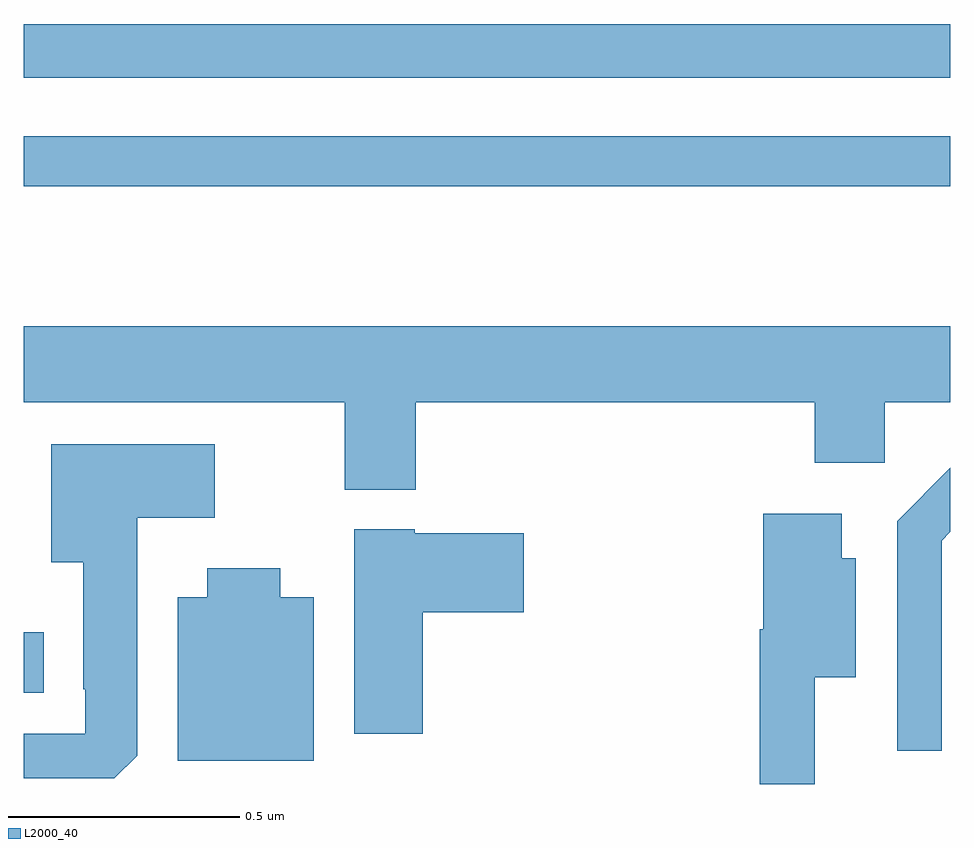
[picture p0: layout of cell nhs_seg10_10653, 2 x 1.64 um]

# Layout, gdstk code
import gdstk
lib = gdstk.Library(unit=1e-6, precision=1e-09)
def R(c, l, rs):  # rectangles x0, y0, x1, y1
    for r in rs: c.add(gdstk.rectangle(r[:2], r[2:], *l))
def P(c, l, *ps):  # polygons
    for p in ps: c.add(gdstk.Polygon(p, *l))
L2000_40 = (2000, 40)

nhs_seg10_10653 = lib.new_cell('nhs_seg10_10653')
R(nhs_seg10_10653, L2000_40, [(245,1291.697,245.044,1291.828), (245,1292.79,247,1292.898), (245,1293.024,247,1293.14)])
P(nhs_seg10_10653, L2000_40, [(245.846,1292.324),(246.707,1292.324),(246.707,1292.193),(246.858,1292.193),(246.858,1292.324),(247,1292.324),(247,1292.488),(245,1292.488),(245,1292.324),(245.693,1292.324),(245.693,1292.135),(245.846,1292.135)],
  [(245.245,1291.561),(245.245,1292.075),(245.413,1292.075),(245.413,1292.233),(245.06,1292.233),(245.06,1291.979),(245.129,1291.979),(245.129,1291.705),(245.133,1291.705),(245.133,1291.608),(245,1291.608),(245,1291.512),(245.196,1291.512)],
  [(246.981,1292.025),(247,1292.044),(247,1292.182),(246.885,1292.067),(246.885,1291.572),(246.981,1291.572)],
  [(246.707,1291.73),(246.796,1291.73),(246.796,1291.987),(246.766,1291.987),(246.766,1292.083),(246.596,1292.083),(246.596,1291.834),(246.589,1291.834),(246.589,1291.5),(246.707,1291.5)],
  [(245.861,1291.871),(246.079,1291.871),(246.079,1292.041),(245.844,1292.041),(245.844,1292.05),(245.714,1292.05),(245.714,1291.608),(245.861,1291.608)],
  [(245.626,1291.903),(245.554,1291.903),(245.554,1291.966),(245.396,1291.966),(245.396,1291.903),(245.333,1291.903),(245.333,1291.55),(245.626,1291.55)])

lib.write_gds('nhs_seg10_10653.gds')
